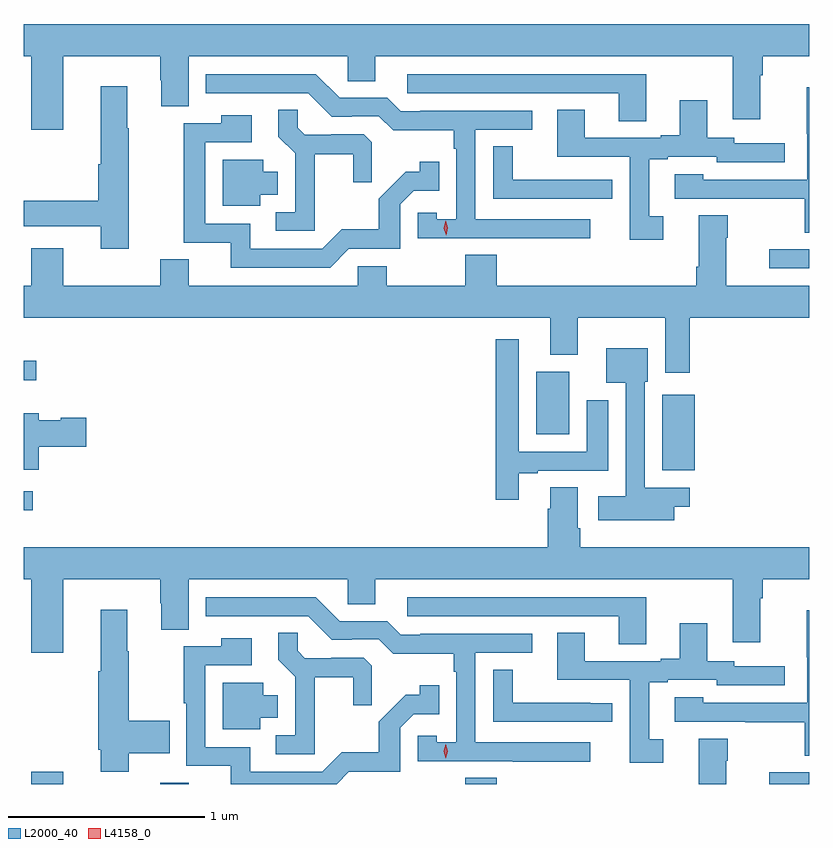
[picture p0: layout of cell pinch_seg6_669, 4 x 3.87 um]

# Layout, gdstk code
import gdstk
lib = gdstk.Library(unit=1e-6, precision=1e-09)
def R(c, l, rs):  # rectangles x0, y0, x1, y1
    for r in rs: c.add(gdstk.rectangle(r[:2], r[2:], *l))
def P(c, l, *ps):  # polygons
    for p in ps: c.add(gdstk.Polygon(p, *l))
L2000_40 = (2000, 40)
L4158_0 = (4158, 0)

pinch_seg6_669 = lib.new_cell('pinch_seg6_669')
R(pinch_seg6_669, L2000_40, [(488.684,944.962,488.848,945.025), (489.34,944.962,489.487,944.969), (490.894,944.962,491.054,944.993), (492.441,944.962,492.646,945.021), (488.646,946.356,488.692,946.452), (491.897,946.559,492.064,946.945), (491.255,946.742,491.425,947.062), (488.646,947.018,488.71,947.118), (492.441,947.589,492.646,947.685)])
P(pinch_seg6_669, L2000_40, [(488.848,948.668),(489.34,948.668),(489.34,948.546),(489.347,948.546),(489.347,948.412),(489.487,948.412),(489.487,948.668),(490.296,948.668),(490.296,948.541),(490.435,948.541),(490.435,948.668),(492.257,948.668),(492.257,948.348),(492.397,948.348),(492.397,948.572),(492.41,948.572),(492.41,948.668),(492.646,948.668),(492.646,948.832),(488.646,948.832),(488.646,948.668),(488.684,948.668),(488.684,948.294),(488.848,948.294)],
  [(491.53,947.838),(490.944,947.838),(490.944,948.294),(491.236,948.294),(491.236,948.39),(490.666,948.39),(490.666,948.387),(490.566,948.387),(490.497,948.456),(490.254,948.456),(490.134,948.576),(489.572,948.576),(489.572,948.48),(490.095,948.48),(490.215,948.36),(490.316,948.36),(490.316,948.363),(490.455,948.363),(490.528,948.29),(490.836,948.29),(490.836,948.197),(490.848,948.197),(490.848,947.839),(490.749,947.839),(490.749,947.871),(490.653,947.871),(490.653,947.742),(491.137,947.742),(491.137,947.74),(491.53,947.74)],
  [(491.815,948.576),(490.599,948.576),(490.599,948.48),(491.675,948.48),(491.675,948.337),(491.815,948.337)],
  [(489.18,948.301),(489.172,948.301),(489.172,948.514),(489.038,948.514),(489.038,948.119),(489.026,948.119),(489.026,947.931),(488.646,947.931),(488.646,947.801),(489.038,947.801),(489.038,947.688),(489.18,947.688)],
  [(492.646,948.511),(492.634,948.511),(492.634,948.272),(492.636,948.272),(492.636,948.039),(492.105,948.039),(492.105,948.067),(491.961,948.067),(491.961,947.943),(492.319,947.943),(492.319,947.941),(492.624,947.941),(492.624,947.77),(492.646,947.77)],
  [(491.902,947.853),(491.83,947.853),(491.83,948.144),(491.926,948.144),(491.926,948.156),(492.174,948.156),(492.174,948.129),(492.52,948.129),(492.52,948.225),(492.264,948.225),(492.264,948.252),(492.127,948.252),(492.127,948.445),(491.987,948.445),(491.987,948.265),(491.891,948.265),(491.891,948.252),(491.503,948.252),(491.503,948.395),(491.363,948.395),(491.363,948.156),(491.733,948.156),(491.733,947.733),(491.902,947.733)],
  [(490.127,948.17),(490.324,948.17),(490.324,948.027),(490.418,948.027),(490.418,948.229),(490.377,948.27),(490.212,948.27),(490.212,948.267),(490.078,948.267),(490.041,948.304),(490.041,948.395),(489.943,948.395),(489.943,948.259),(490.029,948.173),(490.029,947.874),(489.93,947.874),(489.93,947.778),(490.127,947.778)],
  [(490.302,947.688),(490.563,947.688),(490.563,947.913),(490.632,947.982),(490.763,947.982),(490.763,948.13),(490.662,948.13),(490.662,948.08),(490.592,948.08),(490.455,947.942),(490.455,947.787),(490.266,947.787),(490.167,947.688),(489.799,947.688),(489.799,947.814),(489.57,947.814),(489.57,948.231),(489.808,948.231),(489.808,948.367),(489.652,948.367),(489.652,948.327),(489.462,948.327),(489.462,947.718),(489.701,947.718),(489.701,947.592),(490.206,947.592)],
  [(491.644,948.038),(491.531,948.038),(491.531,948.039),(491.136,948.039),(491.136,948.209),(491.037,948.209),(491.037,947.943),(491.644,947.943)],
  [(489.85,947.963),(489.94,947.963),(489.94,948.079),(489.865,948.079),(489.865,948.142),(489.659,948.142),(489.659,947.906),(489.85,947.906)],
  [(492.646,947.5),(492.223,947.5),(492.223,947.744),(492.231,947.744),(492.231,947.857),(492.083,947.857),(492.083,947.596),(492.071,947.596),(492.071,947.5),(491.054,947.5),(491.054,947.657),(490.894,947.657),(490.894,947.5),(490.494,947.5),(490.494,947.598),(490.347,947.598),(490.347,947.5),(489.487,947.5),(489.487,947.633),(489.34,947.633),(489.34,947.5),(488.848,947.5),(488.848,947.689),(488.684,947.689),(488.684,947.5),(488.646,947.5),(488.646,947.336),(491.327,947.336),(491.327,947.147),(491.467,947.147),(491.467,947.336),(491.912,947.336),(491.912,947.055),(492.038,947.055),(492.038,947.336),(492.646,947.336)],
  [(491.167,946.545),(491.263,946.545),(491.263,946.557),(491.623,946.557),(491.623,946.915),(491.513,946.915),(491.513,946.653),(491.166,946.653),(491.166,947.227),(491.05,947.227),(491.05,946.41),(491.167,946.41)],
  [(491.959,946.373),(492.037,946.373),(492.037,946.47),(491.808,946.47),(491.808,947.01),(491.824,947.01),(491.824,947.182),(491.612,947.182),(491.612,947.006),(491.712,947.006),(491.712,946.426),(491.571,946.426),(491.571,946.304),(491.959,946.304)],
  [(488.722,946.679),(488.965,946.679),(488.965,946.826),(488.835,946.826),(488.835,946.813),(488.722,946.813),(488.722,946.849),(488.646,946.849),(488.646,946.562),(488.722,946.562)],
  [(488.848,946.004),(489.34,946.004),(489.34,945.882),(489.347,945.882),(489.347,945.748),(489.487,945.748),(489.487,946.004),(490.296,946.004),(490.296,945.877),(490.435,945.877),(490.435,946.004),(492.257,946.004),(492.257,945.684),(492.397,945.684),(492.397,945.908),(492.41,945.908),(492.41,946.004),(492.646,946.004),(492.646,946.168),(491.48,946.168),(491.48,946.264),(491.467,946.264),(491.467,946.472),(491.327,946.472),(491.327,946.364),(491.315,946.364),(491.315,946.168),(488.646,946.168),(488.646,946.004),(488.684,946.004),(488.684,945.63),(488.848,945.63)],
  [(491.53,945.174),(490.944,945.174),(490.944,945.63),(491.236,945.63),(491.236,945.726),(490.666,945.726),(490.666,945.723),(490.566,945.723),(490.497,945.792),(490.254,945.792),(490.134,945.912),(489.572,945.912),(489.572,945.816),(490.095,945.816),(490.215,945.696),(490.316,945.696),(490.316,945.699),(490.455,945.699),(490.528,945.626),(490.836,945.626),(490.836,945.533),(490.848,945.533),(490.848,945.175),(490.749,945.175),(490.749,945.207),(490.653,945.207),(490.653,945.078),(491.137,945.078),(491.137,945.076),(491.53,945.076)],
  [(491.815,945.912),(490.599,945.912),(490.599,945.816),(491.675,945.816),(491.675,945.673),(491.815,945.673)],
  [(489.18,945.119),(489.389,945.119),(489.389,945.285),(489.18,945.285),(489.18,945.637),(489.172,945.637),(489.172,945.85),(489.038,945.85),(489.038,945.537),(489.026,945.537),(489.026,945.136),(489.038,945.136),(489.038,945.024),(489.18,945.024)],
  [(492.646,945.847),(492.634,945.847),(492.634,945.608),(492.636,945.608),(492.636,945.375),(492.105,945.375),(492.105,945.403),(491.961,945.403),(491.961,945.279),(492.319,945.279),(492.319,945.277),(492.624,945.277),(492.624,945.106),(492.646,945.106)],
  [(491.902,945.189),(491.83,945.189),(491.83,945.48),(491.926,945.48),(491.926,945.492),(492.174,945.492),(492.174,945.465),(492.52,945.465),(492.52,945.561),(492.264,945.561),(492.264,945.588),(492.127,945.588),(492.127,945.781),(491.987,945.781),(491.987,945.601),(491.891,945.601),(491.891,945.588),(491.503,945.588),(491.503,945.731),(491.363,945.731),(491.363,945.492),(491.733,945.492),(491.733,945.069),(491.902,945.069)],
  [(490.127,945.506),(490.324,945.506),(490.324,945.363),(490.418,945.363),(490.418,945.565),(490.377,945.606),(490.212,945.606),(490.212,945.603),(490.078,945.603),(490.041,945.64),(490.041,945.731),(489.943,945.731),(489.943,945.595),(490.029,945.509),(490.029,945.21),(489.93,945.21),(489.93,945.114),(490.127,945.114)],
  [(490.302,945.024),(490.563,945.024),(490.563,945.249),(490.632,945.318),(490.763,945.318),(490.763,945.466),(490.662,945.466),(490.662,945.416),(490.592,945.416),(490.455,945.278),(490.455,945.123),(490.266,945.123),(490.167,945.024),(489.799,945.024),(489.799,945.15),(489.57,945.15),(489.57,945.567),(489.808,945.567),(489.808,945.703),(489.652,945.703),(489.652,945.663),(489.462,945.663),(489.462,945.373),(489.474,945.373),(489.474,945.054),(489.701,945.054),(489.701,944.962),(490.24,944.962)],
  [(491.644,945.374),(491.531,945.374),(491.531,945.375),(491.136,945.375),(491.136,945.545),(491.037,945.545),(491.037,945.279),(491.644,945.279)],
  [(489.85,945.299),(489.94,945.299),(489.94,945.415),(489.865,945.415),(489.865,945.478),(489.659,945.478),(489.659,945.242),(489.85,945.242)],
  [(492.223,945.08),(492.231,945.08),(492.231,945.193),(492.083,945.193),(492.083,944.962),(492.223,944.962)])
P(pinch_seg6_669, L4158_0, [(490.797,947.757),(490.797,947.757),(490.786,947.793),(490.794,947.829),(490.794,947.829),(490.794,947.829),(490.806,947.794),(490.797,947.757)],
  [(490.794,945.093),(490.794,945.093),(490.784,945.129),(490.794,945.165),(490.794,945.165),(490.794,945.165),(490.804,945.129),(490.794,945.093)])

lib.write_gds('pinch_seg6_669.gds')
